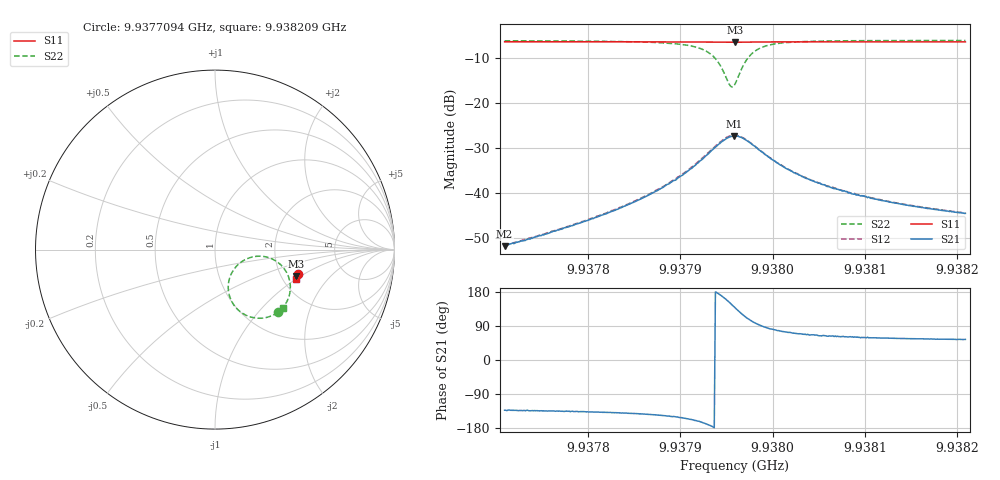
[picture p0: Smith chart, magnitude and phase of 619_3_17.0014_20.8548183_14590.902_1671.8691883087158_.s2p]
#  HZ  S  RI  R  50.00
! Rohde & Schwarz Vector Network Analyzer
! Rohde-Schwarz,ZNB20-2Port,1311601062101988,3.16
! Created: UTC 3/20/2024, 11:19:52 PM
! freq[Hz]  re:S11  im:S11  re:S21  im:S21  re:S12  im:S12  re:S22  im:S22
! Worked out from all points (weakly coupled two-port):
!   401 points, 9.9377094 GHz to 9.938209 GHz, reference 50 ohm
!   highest |S21| = -27.34 dB at 9.9379579 GHz (marker M1); lowest = -51.9 dB at 9.9377094 GHz (marker M2)
!   lowest |S11| = -6.5 dB at 9.9379592 GHz (marker M3), VSWR 2.81, Z = 120 - j46.1 ohm
!   |S11| at or under -10 dB: nowhere
!   |S22| runs from -16.4 to -6.1 dB; largest |S21 - S12| = 0.002
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9.93770937e9  0.4626 -0.1352  -0.00172 -0.00187  -0.00176 -0.00189  0.351 -0.348
9.93779305e9  0.4604 -0.1409  -0.00338 -0.00324  -0.0035 -0.00324  0.3319 -0.3603
9.93783427e9  0.4591 -0.1438  -0.00514 -0.00438  -0.00531 -0.00437  0.3144 -0.3687
9.93787674e9  0.4576 -0.1467  -0.00895 -0.00613  -0.00919 -0.00612  0.279 -0.3794
9.93790922e9  0.456 -0.1492  -0.0164 -0.00729  -0.0168 -0.00724  0.2169 -0.3799
9.93792795e9  0.4544 -0.1504  -0.0254 -0.00524  -0.0262 -0.00482  0.1452 -0.3496
9.93793794e9  0.4532 -0.1505  -0.0323 0.000226  -0.0331 0.000916  0.0975 -0.2969
9.93794294e9  0.4526 -0.1504  -0.0352 0.00466  -0.0362 0.006  0.0793 -0.253
9.93794669e9  0.4523 -0.1501  -0.0369 0.00966  -0.0378 0.0111  0.0738 -0.2115
9.93795418e9  0.4518 -0.1492  -0.0365 0.0213  -0.0364 0.0233  0.0997 -0.1187
9.93795793e9  0.4519 -0.1486  -0.0333 0.0271  -0.033 0.0288  0.1338 -0.0787
9.93795918e9  0.452 -0.1485  -0.032 0.0287  -0.0314 0.0306  0.1478 -0.068
9.93796542e9  0.4527 -0.1481  -0.0232 0.0345  -0.0222 0.0359  0.2259 -0.0379
9.93797167e9  0.4536 -0.148  -0.014 0.0357  -0.0131 0.0365  0.2991 -0.0449
9.93797791e9  0.4544 -0.1486  -0.00701 0.0337  -0.0059 0.0343  0.3514 -0.0719
9.93798416e9  0.4548 -0.1492  -0.00205 0.0306  -0.00121 0.0309  0.384 -0.1046
9.9379954e9  0.4553 -0.1505  0.00266 0.025  0.00336 0.025  0.4119 -0.1572
9.93801289e9  0.4553 -0.1523  0.00519 0.0185  0.00565 0.0184  0.4199 -0.2119
9.93804286e9  0.4547 -0.1549  0.00548 0.0125  0.00584 0.0124  0.4123 -0.2606
9.93808408e9  0.4537 -0.158  0.00474 0.00879  0.00506 0.00858  0.3996 -0.2915
9.93812655e9  0.4526 -0.1609  0.00421 0.00664  0.00443 0.00664  0.3897 -0.3081
9.93820899e9  0.4501 -0.1665  0.00344 0.00479  0.00358 0.00478  0.3767 -0.3256
